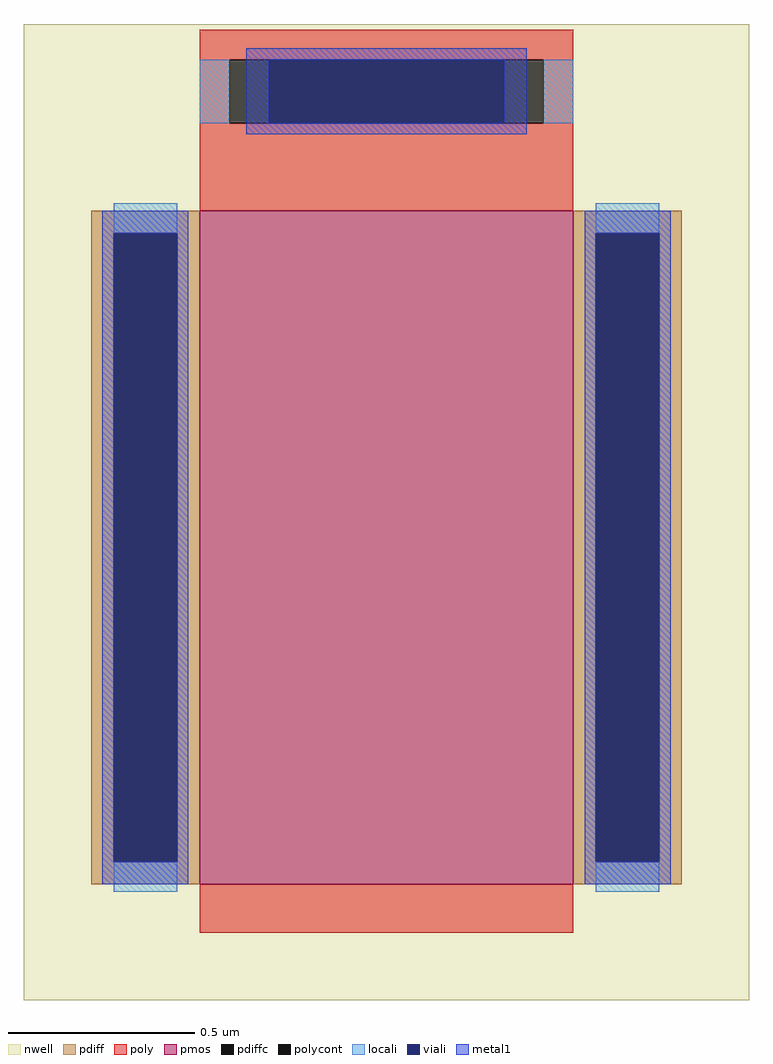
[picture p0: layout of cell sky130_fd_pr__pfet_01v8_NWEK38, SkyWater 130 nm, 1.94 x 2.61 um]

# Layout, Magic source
magic
tech sky130A
magscale 1 2
<< nwell >>
rect -194 -278 194 244
<< pmos >>
rect -100 -216 100 144
<< pdiff >>
rect -158 132 -100 144
rect -158 -204 -146 132
rect -112 -204 -100 132
rect -158 -216 -100 -204
rect 100 132 158 144
rect 100 -204 112 132
rect 146 -204 158 132
rect 100 -216 158 -204
<< pdiffc >>
rect -146 -204 -112 132
rect 112 -204 146 132
<< poly >>
rect -100 225 100 241
rect -100 191 -84 225
rect 84 191 100 225
rect -100 144 100 191
rect -100 -242 100 -216
<< polycont >>
rect -84 191 84 225
<< locali >>
rect -100 191 -84 225
rect 84 191 100 225
rect -146 132 -112 148
rect -146 -220 -112 -204
rect 112 132 146 148
rect 112 -220 146 -204
<< viali >>
rect -63 191 63 225
rect -146 -204 -112 132
rect 112 -204 146 132
<< metal1 >>
rect -75 225 75 231
rect -75 191 -63 225
rect 63 191 75 225
rect -75 185 75 191
rect -152 132 -106 144
rect -152 -204 -146 132
rect -112 -204 -106 132
rect -152 -216 -106 -204
rect 106 132 152 144
rect 106 -204 112 132
rect 146 -204 152 132
rect 106 -216 152 -204
<< properties >>
string gencell sky130_fd_pr__pfet_01v8
string library sky130
string parameters w 1.8 l 1 m 1 nf 1 diffcov 100 polycov 100 guard 0 glc 1 grc 1 gtc 1 gbc 1 tbcov 100 rlcov 100 topc 1 botc 0 poverlap 0 doverlap 1 lmin 0.15 wmin 0.42 compatible {sky130_fd_pr__pfet_01v8  sky130_fd_pr__pfet_01v8_lvt sky130_fd_pr__pfet_01v8_hvt  sky130_fd_pr__pfet_g5v0d10v5} full_metal 1 viasrc 100 viadrn 100 viagate 75 viagb 0 viagr 0 viagl 0 viagt 0
<< end >>
